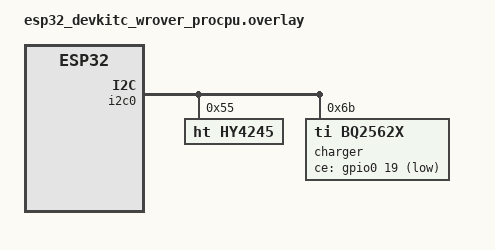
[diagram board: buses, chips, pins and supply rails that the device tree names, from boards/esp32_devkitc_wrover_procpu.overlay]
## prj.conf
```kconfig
# nothing here
CONFIG_CHARGER=y
CONFIG_CHARGER_MP2733=y

CONFIG_I2C=y
CONFIG_I2C_SHELL=y
CONFIG_I2C_INIT_PRIORITY=50
CONFIG_DEVICE_SHELL=y
CONFIG_SHELL=y
CONFIG_SHELL_BACKEND_SERIAL=y
```

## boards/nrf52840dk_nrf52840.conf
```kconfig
CONFIG_CHARGER=y
CONFIG_CHARGER_BQ2562X=y
CONFIG_SHELL=y
CONFIG_I2C=y
CONFIG_I2C_SHELL=y
```

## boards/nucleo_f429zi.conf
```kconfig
CONFIG_CHARGER=y
# CONFIG_CHARGER_BQ2562X=y
CONFIG_SHELL=y
CONFIG_I2C=y
CONFIG_I2C_SHELL=y
```

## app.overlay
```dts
&i2c1 {
	charger: mp2733@4b {
		compatible = "mp,mp2733";
		reg = < 0x4b >;
		ce-gpios = <&gpioa 12 GPIO_ACTIVE_LOW>;
		otg-gpios = <&gpioa 15 GPIO_ACTIVE_HIGH>;
		int-gpios = <&gpioa 10 GPIO_ACTIVE_LOW>;
		watchdog-timeout-ms = <40000>;               
		constant-charge-current-max-microamp = <1840000>;  
		constant-charge-voltage-max-microvolt = <4200000>;  
		precharge-current-microamp = <230000>;       
		termcharge-current-microamp = <200000>;       
		input-current-limit-microamp = <500000>;       
		input-voltage-limit-microvolt = <4300000>;       
		input-voltage-dschg-otg-microvolt = <5000000>;    
		input-current-dschg-otg-microamp = <500000>;       
		min-sys-voltage-microvolt = <3600000>;  
	};
};
```

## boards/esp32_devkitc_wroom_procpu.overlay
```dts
&i2c0 {
	charger: bq25620@6b {
		compatible = "ti,bq2562x";
		reg = <0x6b>;
		ce-gpios = <&gpio0 19 GPIO_ACTIVE_LOW>;
		int-gpios = <&gpio0 18 GPIO_ACTIVE_LOW>;
		//constant-charge-current-max-microamp = <1040000>;
		constant-charge-current-max-microamp = <3520000>;
		constant-charge-voltage-max-microvolt = <4800000>;
		precharge-current-microamp = <100000>;
		charge-term-current-microamp = <60000>;
		ti,min-sys-voltage-microvolt = <3520000>;
		ti,input-current-limit-microamp = <3200000>;
		ti,input-voltage-limit-microvolt = <4600000>;
		ti,thermal-regulation-threshold = <0>;
		ti,switching-converter-freq = <1>;
		ti,switching-converter-strength = <3>;
	};
};
```

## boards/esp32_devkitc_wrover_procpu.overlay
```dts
/*
 * Copyright (c) 2025 Linumiz
 *
 * SPDX-License-Identifier: Apache-2.0
 */


&i2c0 {
	status = "okay";
	pinctrl-0 = <&i2c0_default>;
	pinctrl-names = "default";
	hy4245:hy4245@55 {
		compatible = "ht,hy4245";
		status = "ok";
		reg = <0x55>;
	};
	charger: bq25620@6b {
		compatible = "ti,bq2562x";
		reg = <0x6b>;
		ce-gpios = <&gpio0 19 GPIO_ACTIVE_LOW>;
		//int-gpios = <&gpio0 18 GPIO_ACTIVE_LOW>;
		constant-charge-current-max-microamp = <1040000>;
		constant-charge-voltage-max-microvolt = <4200000>;
		precharge-current-microamp = <100000>;
		charge-term-current-microamp = <60000>;
		ti,min-sys-voltage-microvolt = <3600000>;
		ti,input-current-limit-microamp = <1000000>;
		ti,input-voltage-limit-microvolt = <4600000>;
		ti,thermal-regulation-threshold = <0>;
		ti,switching-converter-freq = <1>;
		ti,switching-converter-strength = <3>;
	};
};
```

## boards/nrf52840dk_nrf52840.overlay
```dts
&i2c0 {
	charger: bq25620@6b {
		compatible = "ti,bq2562x";
		reg = <0x6b>;
		ce-gpios = <&gpio1 3 GPIO_ACTIVE_LOW>;
		int-gpios = <&gpio1 4 GPIO_ACTIVE_LOW>;
		constant-charge-current-max-microamp = <1040000>;
		constant-charge-voltage-max-microvolt = <4200000>;
		precharge-current-microamp = <100000>;
		charge-term-current-microamp = <60000>;
		ti,min-sys-voltage-microvolt = <3600000>;
		ti,input-current-limit-microamp = <1000000>;
		ti,input-voltage-limit-microvolt = <4600000>;
		ti,thermal-regulation-threshold = <0>;
		ti,switching-converter-freq = <1>;
		ti,switching-converter-strength = <3>;
	};
};
```

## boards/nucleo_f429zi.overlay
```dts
&i2c1 {
	status = "okay";

	charger: bq25620@6b {
		compatible = "ti,bq2562x";
		reg = <0x6b>;
		ce-gpios = <&gpiod 8 GPIO_ACTIVE_LOW>;
		watchdog-timeout-ms = <1>;
		constant-charge-current-max-microamp = <1040000>;
		constant-charge-voltage-max-microvolt = <4200000>;
		precharge-current-microamp = <100000>;
		charge-term-current-microamp = <60000>;
		input-current-limit-microamp = <1000000>;
		input-voltage-limit-microvolt = <4600000>;
	};
};
```

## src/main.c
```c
/*
 * Copyright (c) 2023 Cirrus Logic, Inc.
 *
 * SPDX-License-Identifier: Apache-2.0
 */

#include "zephyr/sys/printk.h"
#include <zephyr/kernel.h>
#include <zephyr/device.h>
#include <zephyr/devicetree.h>
#include <zephyr/drivers/charger.h>
#include <sys/errno.h>

static const struct device *chgdev = DEVICE_DT_GET(DT_NODELABEL(charger));

static int print_all(void)
{
	int ret;
	charger_prop_t props[] = {
		CHARGER_PROP_ONLINE,
		CHARGER_PROP_CHARGE_TYPE,
		CHARGER_PROP_CHARGE_TYPE,
		CHARGER_PROP_CHARGE_TYPE,
		CHARGER_PROP_HEALTH,
		CHARGER_PROP_STATUS,
		CHARGER_PROP_STATUS,
		//CHARGER_PROP_USB_TYPE,
		CHARGER_PROP_CONSTANT_CHARGE_CURRENT_UA,
		CHARGER_PROP_CONSTANT_CHARGE_VOLTAGE_UV,
		CHARGER_PROP_PRECHARGE_CURRENT_UA,
		CHARGER_PROP_CHARGE_TERM_CURRENT_UA,
		CHARGER_PROP_BATTERY_VOLTAGE_NOW,
		CHARGER_PROP_BATTERY_CURRENT_NOW,
		CHARGER_PROP_INPUT_VOLTAGE_NOW,
		CHARGER_PROP_INPUT_CURRENT_NOW,
		CHARGER_PROP_INPUT_REGULATION_CURRENT_UA,
		CHARGER_PROP_INPUT_REGULATION_VOLTAGE_UV
	};
	union charger_propval all[ARRAY_SIZE(props)] = {0};

	ret = charger_get_props(chgdev, props, all, ARRAY_SIZE(props));
	if (ret < 0)
		return ret;

	printk("CHARGER_PROP_ONLINE: %d\n", all[0].online);
	printk("CHARGER_PROP_CHARGE_TYPE: %d\n", all[3].charge_type);
	printk("CHARGER_PROP_HEALTH: %d\n", all[4].health);
	printk("CHARGER_PROP_STATUS: %d\n", all[5].status);
	//printk("CHARGER_PROP_USB_TYPE: %d\n", all[6].usb_type);
	printk("CHARGER_PROP_CONSTANT_CHARGE_CURRENT_UA: %d\n", all[7].const_charge_current_ua);
	printk("CHARGER_PROP_CONSTANT_CHARGE_VOLTAGE_UV: %d\n", all[8].const_charge_voltage_uv);
	printk("CHARGER_PROP_PRECHARGE_CURRENT_UA: %d\n", all[9].precharge_current_ua);
	printk("CHARGER_PROP_CHARGE_TERM_CURRENT_UA: %d\n", all[10].charge_term_current_ua);
	printk("CHARGER_PROP_BATTERY_VOLTAGE_NOW: %d\n", all[11].battery_voltage_now_uv);
	printk("CHARGER_PROP_BATTERY_CURRENT_NOW: %d\n", all[12].battery_current_now_ua);
	printk("CHARGER_PROP_VOLTAGE_NOW: %d\n", all[13].input_voltage_now_uv);
	printk("CHARGER_PROP_CURRENT_NOW: %d\n", all[14].input_current_now_ua);
	printk("CHARGER_PROP_INPUT_REGULATION_CURRENT_UA: %d\n", all[15].input_current_regulation_current_ua);
	printk("CHARGER_PROP_INPUT_REGULATION_VOLTAGE_UV: %d\n", all[16].input_voltage_regulation_voltage_uv);

	return 0;
}

static void set_all(void)
{
	int ret;
	charger_prop_t props[] = {
		CHARGER_PROP_CONSTANT_CHARGE_CURRENT_UA,
		CHARGER_PROP_CONSTANT_CHARGE_VOLTAGE_UV,
		CHARGER_PROP_PRECHARGE_CURRENT_UA,
		CHARGER_PROP_CHARGE_TERM_CURRENT_UA,
		CHARGER_PROP_INPUT_REGULATION_CURRENT_UA,
		CHARGER_PROP_INPUT_REGULATION_VOLTAGE_UV,
	};
	union charger_propval all[ARRAY_SIZE(props)] = {
		{ 1040000 },
		{ 4800000 },
		{ 20000   },
		{ 100000  },
		{ 2000000 },
		{ 16800000},
	};

	ret = charger_set_props(chgdev, props, all, ARRAY_SIZE(props));
	if (ret < 0)
		return;
}

static void status_cb(enum charger_status status)
{
	printk("%s status %d\n", __func__, status);
}

static void online_cb(enum charger_online online)
{
	printk("%s status %d\n", __func__, online);
}

int main(void)
{
	union charger_propval val;
	int ret;

	if (chgdev == NULL) {
		printk("Error: no charger device found.\n");
		return 0;
	}

	if (!device_is_ready(chgdev)) {
		printk("Error: Device \"%s\" is not ready; "
		       "check the driver initialization logs for errors.\n",
		       chgdev->name);
		return 0;
	}

	printk("Found device \"%s\", getting charger data\n", chgdev->name);

#ifdef CONFIG_CHARGER_DISCHARGE_CURRENT_NOTIFICATIONS
	val.discharge_current_notification.current_ua =
		CONFIG_APP_DISCHARGE_CURRENT_NOTIFICATION_THRESHOLD_UA;
	val.discharge_current_notification.severity = CHARGER_SEVERITY_WARNING;
	val.discharge_current_notification.duration_us =
		CONFIG_APP_DISCHARGE_CURRENT_NOTIFICATION_DURATION_US;

	ret = charger_set_prop(chgdev, CHARGER_PROP_DISCHARGE_CURRENT_NOTIFICATION, &val);
	if (ret < 0) {
		return ret;
	}
#endif

#ifdef CONFIG_CHARGER_SYSTEM_VOLTAGE_NOTIFICATIONS
	val.system_voltage_notification =
		CONFIG_APP_SYSTEM_VOLTAGE_NOTIFICATION_THRESHOLD_UV;

	ret = charger_set_prop(chgdev, CHARGER_PROP_SYSTEM_VOLTAGE_NOTIFICATION_UV, &val);
	if (ret < 0) {
		return ret;
	}
#endif

	union charger_propval stat;
	stat.status_notification = status_cb;

	union charger_propval online;
	online.online_notification = online_cb;

	charger_set_prop(chgdev, CHARGER_PROP_STATUS_NOTIFICATION, &stat);
	charger_set_prop(chgdev, CHARGER_PROP_ONLINE_NOTIFICATION, &online);

		ret = charger_charge_enable(chgdev, true);
		if (ret == -ENOTSUP) {
			printk("Enabling charge not supported, assuming auto charge enable\n");
		} else if (ret < 0) {
			return ret;
		}


	while (1) {
	//	k_sleep(K_FOREVER);
		print_all();
		//set_all();
		//print_all();
		//k_sleep(K_FOREVER);
		/* Poll until external power is presented to the charger */
/*
		do {
			ret = charger_get_prop(chgdev, CHARGER_PROP_ONLINE, &val);
			if (ret < 0) {
				return ret;
			}

			k_msleep(100);
		} while (val.online == CHARGER_ONLINE_OFFLINE);
*/

		val.status = CHARGER_STATUS_CHARGING;

		k_msleep(5000);

		ret = charger_get_prop(chgdev, CHARGER_PROP_STATUS, &val);
		if (ret < 0) {
			return ret;
		}

		switch (val.status) {
		case CHARGER_STATUS_CHARGING:
			printk("Charging in progress...\n");

			ret = charger_get_prop(chgdev, CHARGER_PROP_CHARGE_TYPE, &val);
			if (ret < 0) {
				return ret;
			}

			printk("Device \"%s\" charge type is %d\n", chgdev->name, val.charge_type);
			break;
		case CHARGER_STATUS_NOT_CHARGING:
			printk("Charging halted...\n");

			ret = charger_get_prop(chgdev, CHARGER_PROP_HEALTH, &val);
			if (ret < 0) {
				return ret;
			}

			printk("Device \"%s\" health is %d\n", chgdev->name, val.health);
			break;
		case CHARGER_STATUS_FULL:
			printk("Charging complete!");
			break;
		case CHARGER_STATUS_DISCHARGING:
			printk("External power removed, discharging\n");

			ret = charger_get_prop(chgdev, CHARGER_PROP_ONLINE, &val);
			if (ret < 0) {
				return ret;
			}
			break;
		default:
			return -EIO;
		}

		k_msleep(500);
	}
}
```
